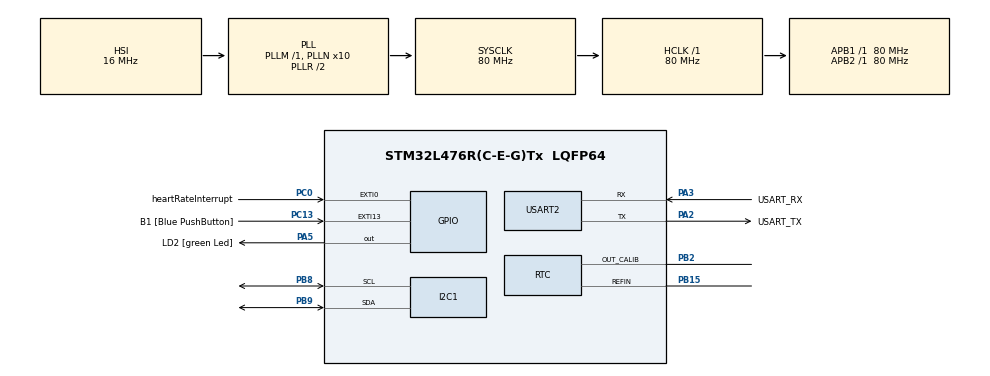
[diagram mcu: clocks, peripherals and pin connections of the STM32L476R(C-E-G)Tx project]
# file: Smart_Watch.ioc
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FREERTOS.HEAP_NUMBER=1
FREERTOS.Mutexes01=i2CMutex,Dynamic,NULL
FREERTOS.Tasks01=default_task,8,256,start_default_task,Default,NULL,Dynamic,NULL,NULL;wright_to_displ,24,256,start_wright_to_display_task,Default,NULL,Dynamic,NULL,NULL;read_heart_rate,24,256,start_read_heart_rate_task,Default,NULL,Dynamic,NULL,NULL;read_acceloroma,16,256,start_read_acceloromater_task,Default,NULL,Dynamic,NULL,NULL;date_and_time_t,23,256,start_date_and_time_task,Default,NULL,Dynamic,NULL,NULL
FREERTOS.configLIBRARY_LOWEST_INTERRUPT_PRIORITY=15
FREERTOS.configLIBRARY_MAX_SYSCALL_INTERRUPT_PRIORITY=5
FREERTOS.configMINIMAL_STACK_SIZE=256
FREERTOS.configTIMER_QUEUE_LENGTH=20
FREERTOS.configTIMER_TASK_STACK_DEPTH=1028
FREERTOS.configTOTAL_HEAP_SIZE=8192
FREERTOS.configUSE_NEWLIB_REENTRANT=1
FREERTOS.configUSE_TICK_HOOK=1
I2C1.Timing=0x10909CEC
Mcu.Family=STM32L4
Mcu.Name=STM32L476R(C-E-G)Tx
Mcu.Package=LQFP64
NVIC.PriorityGroup=NVIC_PRIORITYGROUP_4
NVIC.RTC_Alarm_IRQn=true\:5\:0\:false\:false\:true\:true\:true\:true\:true
NVIC.TIM6_DAC_IRQn=true\:15\:0\:false\:false\:true\:false\:false\:true\:true
NVIC.TimeBase=TIM6_DAC_IRQn
NVIC.TimeBaseIP=TIM6
PA13\ (JTMS-SWDIO).GPIO_Label=TMS
PA13\ (JTMS-SWDIO).Mode=Serial_Wire
PA13\ (JTMS-SWDIO).Signal=SYS_JTMS-SWDIO
PA14\ (JTCK-SWCLK).GPIO_Label=TCK
PA14\ (JTCK-SWCLK).Mode=Serial_Wire
PA14\ (JTCK-SWCLK).Signal=SYS_JTCK-SWCLK
PA2.GPIO_Label=USART_TX
PA2.GPIO_Mode=GPIO_MODE_AF_PP
PA2.GPIO_PuPd=GPIO_NOPULL
PA2.GPIO_Speed=GPIO_SPEED_FREQ_VERY_HIGH
PA2.Mode=Asynchronous
PA2.Signal=USART2_TX
PA3.GPIO_Label=USART_RX
PA3.GPIO_Mode=GPIO_MODE_AF_PP
PA3.GPIO_PuPd=GPIO_NOPULL
PA3.GPIO_Speed=GPIO_SPEED_FREQ_VERY_HIGH
PA3.Mode=Asynchronous
PA3.Signal=USART2_RX
PA5.GPIO_Label=LD2 [green Led]
PA5.GPIO_ModeDefaultOutputPP=GPIO_MODE_OUTPUT_PP
PA5.GPIO_PuPd=GPIO_NOPULL
PA5.GPIO_Speed=GPIO_SPEED_FREQ_LOW
PA5.Signal=GPIO_Output
PB15.Mode=Reference_Clock_Detection_Activate
PB15.Signal=RTC_REFIN
PB2.Mode=Calibration_512Hz
PB2.Signal=RTC_OUT_CALIB
PB3\ (JTDO-TRACESWO).GPIO_Label=SWO
PB3\ (JTDO-TRACESWO).Signal=SYS_JTDO-SWO
PB8.GPIO_FM8=__NULL
PB8.GPIO_Pu=GPIO_NOPULL
PB8.Mode=I2C
PB8.Signal=I2C1_SCL
PB9.GPIO_FM9=__NULL
PB9.GPIO_Pu=GPIO_NOPULL
PB9.Mode=I2C
PB9.Signal=I2C1_SDA
PC0.GPIO_Label=heartRateInterrupt
PC0.GPIO_ModeDefaultEXTI=GPIO_MODE_IT_FALLING
PC0.GPIO_PuPd=GPIO_PULLUP
PC0.Signal=GPXTI0
PC13.GPIO_Label=B1 [Blue PushButton]
PC13.GPIO_ModeDefaultEXTI=GPIO_MODE_IT_FALLING
PC13.GPIO_PuPd=GPIO_NOPULL
PC13.Signal=GPXTI13
PC14-OSC32_IN\ (PC14).Mode=LSE-External-Oscillator
PC14-OSC32_IN\ (PC14).Signal=RCC_OSC32_IN
PC15-OSC32_OUT\ (PC15).Mode=LSE-External-Oscillator
PC15-OSC32_OUT\ (PC15).Signal=RCC_OSC32_OUT
PH0-OSC_IN\ (PH0).Mode=HSE-External-Oscillator
PH0-OSC_IN\ (PH0).Signal=RCC_OSC_IN
PH1-OSC_OUT\ (PH1).Mode=HSE-External-Oscillator
PH1-OSC_OUT\ (PH1).Signal=RCC_OSC_OUT
ProjectManager.HeapSize=0x200
ProjectManager.StackSize=0x400
ProjectManager.TargetToolchain=STM32CubeIDE
RCC.ADCFreq_Value=64000000
RCC.AHBFreq_Value=80000000
RCC.APB1Freq_Value=80000000
RCC.APB1TimFreq_Value=80000000
RCC.APB2Freq_Value=80000000
RCC.APB2TimFreq_Value=80000000
RCC.CortexFreq_Value=80000000
RCC.HCLKFreq_Value=80000000
RCC.HSE_VALUE=8000000
RCC.HSI_VALUE=16000000
RCC.MSI_VALUE=4000000
RCC.PLLN=10
RCC.PLLSourceVirtual=RCC_PLLSOURCE_HSI
RCC.SYSCLKFreq_VALUE=80000000
RCC.SYSCLKSource=RCC_SYSCLKSOURCE_PLLCLK
RCC.USBFreq_Value=64000000
RCC.VCOOutputFreq_Value=160000000
RTC.Alarm-Alarm\ A=RTC_ALARM_A
RTC.Date=11
RTC.HourFormat=RTC_HOURFORMAT_24
RTC.Hours=18
RTC.Hours_A-Alarm\ A=3
RTC.Minutes_A-Alarm\ A=3
RTC.Month=RTC_MONTH_DECEMBER
RTC.WeekDay=RTC_WEEKDAY_WEDNESDAY
USART2.VirtualMode-Asynchronous=VM_ASYNC
VP_FREERTOS_VS_CMSIS_V2.Mode=CMSIS_V2
VP_RTC_VS_RTC_Activate.Mode=RTC_Enabled
VP_RTC_VS_RTC_Alarm_A_Intern.Mode=Alarm A
VP_RTC_VS_RTC_Calendar.Mode=RTC_Calendar
VP_SYS_VS_tim6.Mode=TIM6
board=NUCLEO-L476RG

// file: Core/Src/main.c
/* USER CODE BEGIN Header */
/**
  ******************************************************************************
  * @file           : main.c
  * @brief          : Main program body
  ******************************************************************************
  * @attention
  *
  * Copyright (c) 2023 STMicroelectronics.
  * All rights reserved.
  *
  * This software is licensed under terms that can be found in the LICENSE file
  * in the root directory of this software component.
  * If no LICENSE file comes with this software, it is provided AS-IS.
  *
  ******************************************************************************
  */
/* USER CODE END Header */
#include "main.h"
#include "cmsis_os.h"

/* USER CODE BEGIN Includes */
#include "semphr.h"
/* USER CODE END Includes */

/* USER CODE BEGIN PTD */

	RTC_TimeTypeDef sTime;
	RTC_DateTypeDef sDate;

//typedef struct userData_t {
//		uint8_t hour;
//		uint8_t min;
//		unsigned char am;
//		uint32_t bpm;
//		uint8_t spO2;
//		uint32_t steps;
//	} userData_t;

	typedef struct userData_t {
			int hour;
			int min;
			unsigned char am;
			int bpm;
			int spO2;
			int steps;
		} userData_t;

typedef struct heartData_t {
		uint32_t * irBuffer;
		uint32_t * redBuffer;
		int bufferCounter;
	} heartData_t;

/* USER CODE END PTD */

I2C_HandleTypeDef hi2c1;

RTC_HandleTypeDef hrtc;

UART_HandleTypeDef huart2;

/* Definitions for default_task */
osThreadId_t default_taskHandle;
const osThreadAttr_t default_task_attributes = {
  .name = "default_task",
  .stack_size = 256 * 4,
  .priority = (osPriority_t) osPriorityLow,
};
/* Definitions for wright_to_displ */
osThreadId_t wright_to_displHandle;
const osThreadAttr_t wright_to_displ_attributes = {
  .name = "wright_to_displ",
  .stack_size = 256 * 4,
  .priority = (osPriority_t) osPriorityNormal,
};
/* Definitions for read_heart_rate */
osThreadId_t read_heart_rateHandle;
const osThreadAttr_t read_heart_rate_attributes = {
  .name = "read_heart_rate",
  .stack_size = 256 * 4,
  .priority = (osPriority_t) osPriorityNormal,
};
/* Definitions for read_acceloroma */
osThreadId_t read_acceloromaHandle;
const osThreadAttr_t read_acceloroma_attributes = {
  .name = "read_acceloroma",
  .stack_size = 256 * 4,
  .priority = (osPriority_t) osPriorityBelowNormal,
};
/* Definitions for date_and_time_t */
osThreadId_t date_and_time_tHandle;
const osThreadAttr_t date_and_time_t_attributes = {
  .name = "date_and_time_t",
  .stack_size = 256 * 4,
  .priority = (osPriority_t) osPriorityBelowNormal7,
};
/* Definitions for i2CMutex */
osMutexId_t i2CMutexHandle;
const osMutexAttr_t i2CMutex_attributes = {
  .name = "i2CMutex"
};
/* USER CODE BEGIN PV */

//char[] for date and time retrival
char time[30];
char date[30];

struct userData_t userData = {12, 36, 0x1, 0, 00, 0};

struct ADXL_Data_t pedometerData= {0,0,0};

uint32_t irBuffer[BUFFER_SIZE];
uint32_t redBuffer[BUFFER_SIZE];
struct heartData_t userHeartData = {irBuffer, redBuffer, 0};
max30102_t max30102;

//xSemaphoreHandle i2CMutex;

/* USER CODE END PV */

void SystemClock_Config(void);
static void MX_GPIO_Init(void);
static void MX_USART2_UART_Init(void);
static void MX_RTC_Init(void);
static void MX_I2C1_Init(void);
void start_default_task(void *argument);
void start_wright_to_display_task(void *argument);
void start_read_heart_rate_task(void *argument);
void start_read_acceloromater_task(void *argument);
void start_date_and_time_task(void *argument);

/* USER CODE BEGIN PFP */
void HAL_GPIO_EXTI_Callback(uint16_t GPIO_Pin);
void setupMax30102(max30102_t *max30102);
void max30102_calculate_sample_data(int8_t num_samples);
/*************  Task-Creation-Part-A ******************/

/* USER CODE END PFP */

int main(void)
{

  /* MCU Configuration--------------------------------------------------------*/

  /* Reset of all peripherals, Initializes the Flash interface and the Systick. */
  HAL_Init();

  /* Configure the system clock */
  SystemClock_Config();

  /* Initialize all configured peripherals */
  MX_GPIO_Init();
  MX_USART2_UART_Init();
  MX_RTC_Init();
  MX_I2C1_Init();
  /* USER CODE BEGIN 2 */

  ssd1306_Init();
  ssd1306_Fill(Black);
  ssd1306_SetCursor(0,0);
  ssd1306_WriteString("BOOTING", Font_7x10 ,White);
  ssd1306_UpdateScreen();

  adxl_init (&hi2c1);

  setupMax30102(&max30102);
  /* USER CODE END 2 */

  /* Init scheduler */
  osKernelInitialize();
  /* Create the mutex(es) */
  /* creation of i2CMutex */
  i2CMutexHandle = osMutexNew(&i2CMutex_attributes);

  /* Create the thread(s) */
  /* creation of default_task */
  default_taskHandle = osThreadNew(start_default_task, NULL, &default_task_attributes);

  /* creation of wright_to_displ */
  wright_to_displHandle = osThreadNew(start_wright_to_display_task, NULL, &wright_to_displ_attributes);

  /* creation of read_heart_rate */
  read_heart_rateHandle = osThreadNew(start_read_heart_rate_task, NULL, &read_heart_rate_attributes);

  /* creation of read_acceloroma */
  read_acceloromaHandle = osThreadNew(start_read_acceloromater_task, NULL, &read_acceloroma_attributes);

  /* creation of date_and_time_t */
  date_and_time_tHandle = osThreadNew(start_date_and_time_task, NULL, &date_and_time_t_attributes);

  /* USER CODE BEGIN RTOS_THREADS */
  /* add threads, ... */
  /*************  Task-Creation-Part-C *****************/

  /* USER CODE END RTOS_THREADS */

  /* Start scheduler */
  osKernelStart();

  /* We should never get here as control is now taken by the scheduler */
  /* Infinite loop */
  while (1)
  {

  }
}

void SystemClock_Config(void)
{
  RCC_OscInitTypeDef RCC_OscInitStruct = {0};
  RCC_ClkInitTypeDef RCC_ClkInitStruct = {0};

  /** Configure the main internal regulator output voltage
  */
  if (HAL_PWREx_ControlVoltageScaling(PWR_REGULATOR_VOLTAGE_SCALE1) != HAL_OK)
  {
    Error_Handler();
  }

  /** Initializes the RCC Oscillators according to the specified parameters
  * in the RCC_OscInitTypeDef structure.
  */
  RCC_OscInitStruct.OscillatorType = RCC_OSCILLATORTYPE_HSI|RCC_OSCILLATORTYPE_LSI;
  RCC_OscInitStruct.HSIState = RCC_HSI_ON;
  RCC_OscInitStruct.HSICalibrationValue = RCC_HSICALIBRATION_DEFAULT;
  RCC_OscInitStruct.LSIState = RCC_LSI_ON;
  RCC_OscInitStruct.PLL.PLLState = RCC_PLL_ON;
  RCC_OscInitStruct.PLL.PLLSource = RCC_PLLSOURCE_HSI;
  RCC_OscInitStruct.PLL.PLLM = 1;
  RCC_OscInitStruct.PLL.PLLN = 10;
  RCC_OscInitStruct.PLL.PLLP = RCC_PLLP_DIV7;
  RCC_OscInitStruct.PLL.PLLQ = RCC_PLLQ_DIV2;
  RCC_OscInitStruct.PLL.PLLR = RCC_PLLR_DIV2;
  if (HAL_RCC_OscConfig(&RCC_OscInitStruct) != HAL_OK)
  {
    Error_Handler();
  }

  /** Initializes the CPU, AHB and APB buses clocks
  */
  RCC_ClkInitStruct.ClockType = RCC_CLOCKTYPE_HCLK|RCC_CLOCKTYPE_SYSCLK
                              |RCC_CLOCKTYPE_PCLK1|RCC_CLOCKTYPE_PCLK2;
  RCC_ClkInitStruct.SYSCLKSource = RCC_SYSCLKSOURCE_PLLCLK;
  RCC_ClkInitStruct.AHBCLKDivider = RCC_SYSCLK_DIV1;
  RCC_ClkInitStruct.APB1CLKDivider = RCC_HCLK_DIV1;
  RCC_ClkInitStruct.APB2CLKDivider = RCC_HCLK_DIV1;

  if (HAL_RCC_ClockConfig(&RCC_ClkInitStruct, FLASH_LATENCY_4) != HAL_OK)
  {
    Error_Handler();
  }
}

static void MX_I2C1_Init(void)
{

  hi2c1.Instance = I2C1;
  hi2c1.Init.Timing = 0x10909CEC;
  hi2c1.Init.OwnAddress1 = 0;
  hi2c1.Init.AddressingMode = I2C_ADDRESSINGMODE_7BIT;
  hi2c1.Init.DualAddressMode = I2C_DUALADDRESS_DISABLE;
  hi2c1.Init.OwnAddress2 = 0;
  hi2c1.Init.OwnAddress2Masks = I2C_OA2_NOMASK;
  hi2c1.Init.GeneralCallMode = I2C_GENERALCALL_DISABLE;
  hi2c1.Init.NoStretchMode = I2C_NOSTRETCH_DISABLE;
  if (HAL_I2C_Init(&hi2c1) != HAL_OK)
  {
    Error_Handler();
  }

  /** Configure Analogue filter
  */
  if (HAL_I2CEx_ConfigAnalogFilter(&hi2c1, I2C_ANALOGFILTER_ENABLE) != HAL_OK)
  {
    Error_Handler();
  }

  /** Configure Digital filter
  */
  if (HAL_I2CEx_ConfigDigitalFilter(&hi2c1, 0) != HAL_OK)
  {
    Error_Handler();
  }

}

static void MX_RTC_Init(void)
{

  RTC_TimeTypeDef sTime = {0};
  RTC_DateTypeDef sDate = {0};
  RTC_AlarmTypeDef sAlarm = {0};

  /** Initialize RTC Only
  */
  hrtc.Instance = RTC;
  hrtc.Init.HourFormat = RTC_HOURFORMAT_24;
  hrtc.Init.AsynchPrediv = 127;
  hrtc.Init.SynchPrediv = 255;
  hrtc.Init.OutPut = RTC_OUTPUT_DISABLE;
  hrtc.Init.OutPutRemap = RTC_OUTPUT_REMAP_POS1;
  hrtc.Init.OutPutPolarity = RTC_OUTPUT_POLARITY_HIGH;
  hrtc.Init.OutPutType = RTC_OUTPUT_TYPE_OPENDRAIN;
  if (HAL_RTC_Init(&hrtc) != HAL_OK)
  {
    Error_Handler();
  }

  /** Initialize RTC and set the Time and Date
  */
  sTime.Hours = 0x18;
  sTime.Minutes = 0x0;
  sTime.Seconds = 0x0;
  sTime.DayLightSaving = RTC_DAYLIGHTSAVING_NONE;
  sTime.StoreOperation = RTC_STOREOPERATION_RESET;
  if (HAL_RTC_SetTime(&hrtc, &sTime, RTC_FORMAT_BCD) != HAL_OK)
  {
    Error_Handler();
  }
  sDate.WeekDay = RTC_WEEKDAY_WEDNESDAY;
  sDate.Month = RTC_MONTH_DECEMBER;
  sDate.Date = 0x11;
  sDate.Year = 0x0;

  if (HAL_RTC_SetDate(&hrtc, &sDate, RTC_FORMAT_BCD) != HAL_OK)
  {
    Error_Handler();
  }

  /** Enable the Alarm A
  */
  sAlarm.AlarmTime.Hours = 0x3;
  sAlarm.AlarmTime.Minutes = 0x3;
  sAlarm.AlarmTime.Seconds = 0x0;
  sAlarm.AlarmTime.SubSeconds = 0x0;
  sAlarm.AlarmTime.DayLightSaving = RTC_DAYLIGHTSAVING_NONE;
  sAlarm.AlarmTime.StoreOperation = RTC_STOREOPERATION_RESET;
  sAlarm.AlarmMask = RTC_ALARMMASK_NONE;
  sAlarm.AlarmSubSecondMask = RTC_ALARMSUBSECONDMASK_ALL;
  sAlarm.AlarmDateWeekDaySel = RTC_ALARMDATEWEEKDAYSEL_DATE;
  sAlarm.AlarmDateWeekDay = 0x1;
  sAlarm.Alarm = RTC_ALARM_A;
  if (HAL_RTC_SetAlarm_IT(&hrtc, &sAlarm, RTC_FORMAT_BCD) != HAL_OK)
  {
    Error_Handler();
  }

  /** Enable Calibration
  */
  if (HAL_RTCEx_SetCalibrationOutPut(&hrtc, RTC_CALIBOUTPUT_512HZ) != HAL_OK)
  {
    Error_Handler();
  }

  /** Enable the reference Clock input
  */
  if (HAL_RTCEx_SetRefClock(&hrtc) != HAL_OK)
  {
    Error_Handler();
  }

}

static void MX_USART2_UART_Init(void)
{

  huart2.Instance = USART2;
  huart2.Init.BaudRate = 115200;
  huart2.Init.WordLength = UART_WORDLENGTH_8B;
  huart2.Init.StopBits = UART_STOPBITS_1;
  huart2.Init.Parity = UART_PARITY_NONE;
  huart2.Init.Mode = UART_MODE_TX_RX;
  huart2.Init.HwFlowCtl = UART_HWCONTROL_NONE;
  huart2.Init.OverSampling = UART_OVERSAMPLING_16;
  huart2.Init.OneBitSampling = UART_ONE_BIT_SAMPLE_DISABLE;
  huart2.AdvancedInit.AdvFeatureInit = UART_ADVFEATURE_NO_INIT;
  if (HAL_UART_Init(&huart2) != HAL_OK)
  {
    Error_Handler();
  }

}

static void MX_GPIO_Init(void)
{
  GPIO_InitTypeDef GPIO_InitStruct = {0};

  /* GPIO Ports Clock Enable */
  __HAL_RCC_GPIOC_CLK_ENABLE();
  __HAL_RCC_GPIOH_CLK_ENABLE();
  __HAL_RCC_GPIOA_CLK_ENABLE();
  __HAL_RCC_GPIOB_CLK_ENABLE();

  /*Configure GPIO pin Output Level */
  HAL_GPIO_WritePin(LD2_GPIO_Port, LD2_Pin, GPIO_PIN_RESET);

  /*Configure GPIO pin : B1_Pin */
  GPIO_InitStruct.Pin = B1_Pin;
  GPIO_InitStruct.Mode = GPIO_MODE_IT_FALLING;
  GPIO_InitStruct.Pull = GPIO_NOPULL;
  HAL_GPIO_Init(B1_GPIO_Port, &GPIO_InitStruct);

  /*Configure GPIO pin : heartRateInterrupt_Pin */
  GPIO_InitStruct.Pin = heartRateInterrupt_Pin;
  GPIO_InitStruct.Mode = GPIO_MODE_IT_FALLING;
  GPIO_InitStruct.Pull = GPIO_PULLUP;
  HAL_GPIO_Init(heartRateInterrupt_GPIO_Port, &GPIO_InitStruct);

  /*Configure GPIO pin : LD2_Pin */
  GPIO_InitStruct.Pin = LD2_Pin;
  GPIO_InitStruct.Mode = GPIO_MODE_OUTPUT_PP;
  GPIO_InitStruct.Pull = GPIO_NOPULL;
  GPIO_InitStruct.Speed = GPIO_SPEED_FREQ_LOW;
  HAL_GPIO_Init(LD2_GPIO_Port, &GPIO_InitStruct);

}

/* USER CODE BEGIN 4 */
void setupMax30102 (max30102_t *max30102)
{

	max30102_init(max30102, &hi2c1);
	max30102_reset(max30102);
	max30102_clear_fifo(max30102);
	// FIFO configurations
	max30102_set_fifo_config(max30102, max30102_smp_ave_4, 1, 16);
	max30102_set_mode(max30102, max30102_spo2);
	// LED configurations
	max30102_set_led_pulse_width(max30102, max30102_pw_16_bit);
	max30102_set_adc_resolution(max30102, max30102_adc_4096);
	max30102_set_sampling_rate(max30102, max30102_sr_400);
	max30102_set_led_current_1(max30102, 10);
	max30102_set_led_current_2(max30102, 10);

	//max30102_set_multi_led_slot_1_2(max30102, max30102_led_red, max30102_led_off);
	//max30102_set_multi_led_slot_3_4(max30102, max30102_led_ir, max30102_led_off);

	// Enable FIFO_A_FULL interrupt
	max30102_set_a_full(max30102, 1);
	// Enable die temperature measurement
	max30102_set_die_temp_en(max30102, 1);
	// Enable DIE_TEMP_RDY interrupt
	max30102_set_die_temp_rdy(max30102, 1);
	//max30102_set_ppg_rdy(max30102, 1);
	//max30102_set_alc_ovf(max30102, 1);

}

void max30102_calculate_sample_data(int8_t num_samples)
{
	/*
	uint8_t MSG[35] = {'\0'};
	sprintf(MSG, "  invalid bpm! %i", (unsigned int)bpm);
	HAL_UART_Transmit(&huart2, MSG, sizeof(MSG),HAL_MAX_DELAY);
	*/
	int8_t msg[35] = {'\0'};

	for(int i = 0; i < num_samples; i++)
	{
//		sprintf(msg, "%i : %i ", (int)max30102._ir_samples[i],(int)max30102._red_samples[i]);
//		HAL_UART_Transmit(&huart2, msg, sizeof(msg),HAL_MAX_DELAY);
		userHeartData.irBuffer[userHeartData.bufferCounter] = max30102._ir_samples[i];
		userHeartData.redBuffer[userHeartData.bufferCounter] = max30102._red_samples[i];
		userHeartData.bufferCounter++;
		if(userHeartData.bufferCounter == BUFFER_SIZE)
		{
			memset(msg, 0, sizeof msg);
			int32_t spo2;
			int8_t spo2V;
			int32_t bpm;
			int8_t bpmV;
			maxim_heart_rate_and_oxygen_saturation(userHeartData.irBuffer, userHeartData.redBuffer, MAX30102_BUFFER_LENGTH-MAX30102_SAMPLING_RATE,
					0, &spo2, &spo2V, &bpm, &bpmV);
	        if(spo2V)
	        {
	        	userData.spO2 = spo2;
	        }
	        else{
	        	userData.spO2 = 0;
	        }

	        if(bpmV)
	        {

	        	userData.bpm = bpm;

	        }
	        else{
	        	userData.bpm = 0;
	        }
	        userHeartData.bufferCounter = 0;
		}

		memset(msg, 0, sizeof msg);
	}
}

void HAL_GPIO_EXTI_Callback(uint16_t GPIO_Pin){
	if(GPIO_Pin == heartRateInterrupt_Pin)
	{
		//max30102_interrupt_handler(&max30102);
		//max30102_on_interrupt(&max30102);
	}
}

/************  Task-Creation-Part-B *****************/

/* USER CODE END 4 */

void start_default_task(void *argument)
{
  /* USER CODE BEGIN 5 */
  /* Infinite loop */
  for(;;)
  {
    osDelay(1000);
  }
  /* USER CODE END 5 */
}

void start_wright_to_display_task(void *argument)
{
  /* USER CODE BEGIN start_wright_to_display_task */
  /* Infinite loop */
  for(;;)
  {
	  if(xSemaphoreTake(i2CMutexHandle, portMAX_DELAY) == pdTRUE)
	  {

		  ssd1306_Fill(Black);
		  ssd1306_SetCursor(0,0);

		  char temp [4][19];
		  //"     hh-mm PM     ";
		  char *ampm = ((userData.am) ? "AM" : "PM");
		  snprintf(temp[0], 19, "     %02i-%02i %.2s     " ,userData.hour ,userData.min ,ampm);
		  ssd1306_WriteString(temp[0], Font_7x10 ,White);

		  ssd1306_SetCursor(0,20);
		  snprintf(temp[1], 19, "BPM: %i", userData.bpm);
		  ssd1306_WriteString(temp[1], Font_7x10, White);

		  ssd1306_SetCursor(0,30);
		  snprintf(temp[2], 19, "BO2: %i%%", userData.spO2);
		  ssd1306_WriteString(temp[2], Font_7x10, White);

		  ssd1306_SetCursor(0,40);
		  snprintf(temp[3], 19, "Steps: %i", userData.steps);
		  ssd1306_WriteString(temp[3], Font_7x10, White);
		  ssd1306_UpdateScreen();

	  xSemaphoreGive(i2CMutexHandle);
	  }

	  osDelay(1000);

  }
  /* USER CODE END start_wright_to_display_task */
}

void start_read_heart_rate_task(void *argument)
{
  /* USER CODE BEGIN start_read_heart_rate_task */
  /* Infinite loop */
  for(;;)
  {

	//if(max30102_has_interrupt(&max30102))
	//{
		//taskENTER_CRITICAL();

		if(xSemaphoreTake(i2CMutexHandle, portMAX_DELAY) == pdTRUE)
		{
			uint8_t reg[2] = {0x00};
			    // Interrupt flag in registers 0x00 and 0x01 are cleared on read
			    max30102_read(&max30102, MAX30102_INTERRUPT_STATUS_1, reg, 2);

			    if (!(reg[0] >> MAX30102_INTERRUPT_A_FULL) & 0x01)
			    {

			        // FIFO almost full
			        max30102_read_fifo(&max30102);
			    }
			//max30102_interrupt_handler(&max30102);
			xSemaphoreGive(i2CMutexHandle);
		}

		//taskEXIT_CRITICAL();
	//}
    osDelay(50);
  }
  /* USER CODE END start_read_heart_rate_task */
}

void start_read_acceloromater_task(void *argument)
{
  /* USER CODE BEGIN start_read_acceloromater_task */
  /* Infinite loop */
  for(;;)
  {

	  if(xSemaphoreTake(i2CMutexHandle, portMAX_DELAY) == pdTRUE)
	  	  {
		  	 adxl_retrive_data(&hi2c1, &pedometerData);

		  	 if(pedometerData.x + pedometerData.y >= 4)
		  	 {
		  		 userData.steps++;
		  	 }

			 xSemaphoreGive(i2CMutexHandle);
	  	  }

    osDelay(1252);
  }
  /* USER CODE END start_read_acceloromater_task */
}

void start_date_and_time_task(void *argument)
{
  /* USER CODE BEGIN start_date_and_time_task */
  /* Infinite loop */
  for(;;)
  {
	  if(xSemaphoreTake(i2CMutexHandle, portMAX_DELAY) == pdTRUE)
	  {
		 HAL_RTC_GetDate(&hrtc, &sDate, RTC_FORMAT_BIN);
		 HAL_RTC_GetTime(&hrtc, &sTime, RTC_FORMAT_BIN);
		 if(sTime.Hours < 12){
			 userData.am = 1;
			 if(sTime.Hours == 0){
				 userData.hour = 12;
			 } else {
				 userData.hour = sTime.Hours;
			 }

		 } else {
		 	userData.am = 0;
		 	userData.hour = sTime.Hours - 12;
		 }

		 	  userData.min = sTime.Minutes;
		 	  xSemaphoreGive(i2CMutexHandle);
	  }

	  osDelay(1000);

  }
  /* USER CODE END start_date_and_time_task */
}

void HAL_TIM_PeriodElapsedCallback(TIM_HandleTypeDef *htim)
{
  if (htim->Instance == TIM6) {
    HAL_IncTick();
  }
}

void Error_Handler(void)
{
  __disable_irq();
  while (1)
  {
  }
}

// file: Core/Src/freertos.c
/* USER CODE BEGIN Header */
/**
  ******************************************************************************
  * File Name          : freertos.c
  * Description        : Code for freertos applications
  ******************************************************************************
  * @attention
  *
  * Copyright (c) 2023 STMicroelectronics.
  * All rights reserved.
  *
  * This software is licensed under terms that can be found in the LICENSE file
  * in the root directory of this software component.
  * If no LICENSE file comes with this software, it is provided AS-IS.
  *
  ******************************************************************************
  */
/* USER CODE END Header */

#include "FreeRTOS.h"
#include "task.h"
#include "main.h"

/* Hook prototypes */
void vApplicationTickHook(void);

/* USER CODE BEGIN 3 */
void vApplicationTickHook( void )
{
   /* This function will be called by each tick interrupt if
   configUSE_TICK_HOOK is set to 1 in FreeRTOSConfig.h. User code can be
   added here, but the tick hook is called from an interrupt context, so
   code must not attempt to block, and only the interrupt safe FreeRTOS API
   functions can be used (those that end in FromISR()). */
	//HAL_IncTick();
}
/* USER CODE END 3 */
